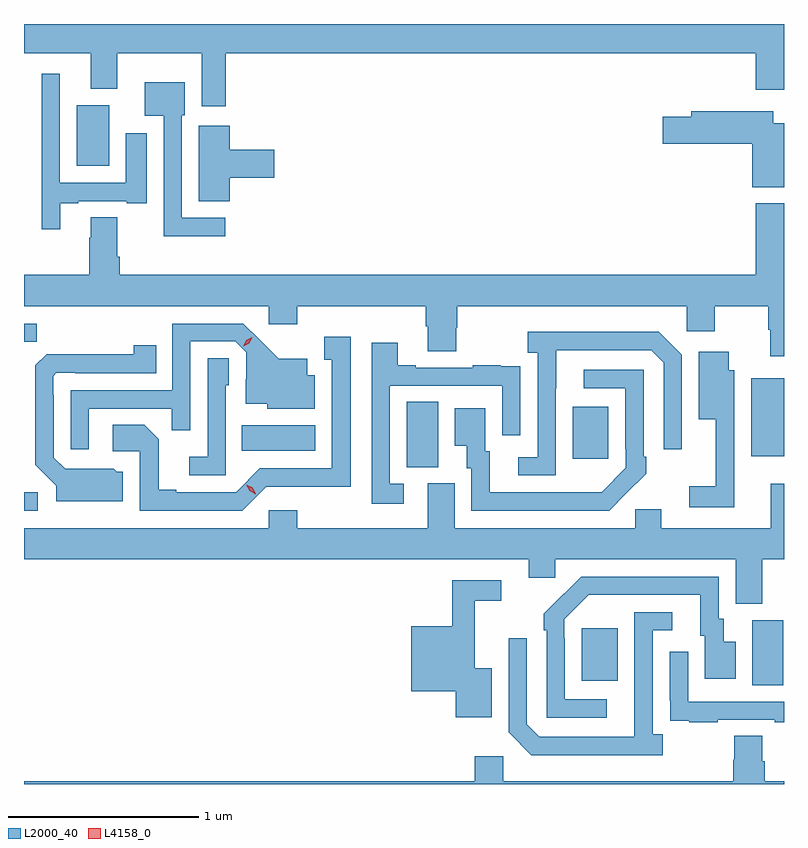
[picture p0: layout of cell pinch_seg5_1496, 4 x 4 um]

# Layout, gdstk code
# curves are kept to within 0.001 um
import gdstk
lib = gdstk.Library(unit=1e-6, precision=1e-09)
def R(c, l, rs):  # rectangles x0, y0, x1, y1
    for r in rs: c.add(gdstk.rectangle(r[:2], r[2:], *l))
def P(c, l, *ps):  # polygons
    for p in ps: c.add(gdstk.Polygon(p, *l))
L2000_40 = (2000, 40)
L4158_0 = (4158, 0)

pinch_seg5_1496 = lib.new_cell('pinch_seg5_1496')
R(pinch_seg5_1496, L2000_40, [(303.002,858.76,303.166,859.104), (302.105,858.785,302.293,859.06), (299.169,859.68,299.242,859.776), (301.184,859.909,301.348,860.252), (302.057,859.953,302.245,860.227), (302.996,859.967,303.169,860.377), (300.316,859.994,300.703,860.128), (299.169,860.569,299.235,860.664), (299.447,861.494,299.617,861.814)])
P(pinch_seg5_1496, L2000_40, [(300.23,862.088),(303.02,862.088),(303.02,861.894),(303.169,861.894),(303.169,862.241),(299.169,862.241),(299.169,862.088),(299.519,862.088),(299.519,861.899),(299.659,861.899),(299.659,862.088),(300.104,862.088),(300.104,861.807),(300.23,861.807)],
  [(299.359,861.297),(299.455,861.297),(299.455,861.309),(299.711,861.309),(299.711,861.297),(299.815,861.297),(299.815,861.667),(299.705,861.667),(299.705,861.405),(299.358,861.405),(299.358,861.979),(299.262,861.979),(299.262,861.162),(299.359,861.162)],
  [(300.229,861.222),(300,861.222),(300,861.762),(300.016,861.762),(300.016,861.934),(299.804,861.934),(299.804,861.758),(299.904,861.758),(299.904,861.125),(300.229,861.125)],
  [(303.169,861.718),(303.112,861.718),(303.112,861.783),(302.681,861.783),(302.681,861.753),(302.532,861.753),(302.532,861.611),(303.002,861.611),(303.002,861.383),(303.169,861.383)],
  [(300.251,861.431),(300.487,861.431),(300.487,861.578),(300.251,861.578),(300.251,861.706),(300.089,861.706),(300.089,861.307),(300.251,861.307)],
  [(303.169,861.298),(303.02,861.298),(303.02,860.92),(299.672,860.92),(299.672,861.016),(299.659,861.016),(299.659,861.224),(299.519,861.224),(299.519,861.116),(299.512,861.116),(299.512,860.92),(299.169,860.92),(299.169,860.756),(300.456,860.756),(300.456,860.661),(300.608,860.661),(300.608,860.756),(301.283,860.756),(301.283,860.65),(301.295,860.65),(301.295,860.518),(301.443,860.518),(301.443,860.643),(301.448,860.643),(301.448,860.756),(302.658,860.756),(302.658,860.625),(302.805,860.625),(302.805,860.756),(303.087,860.756),(303.087,860.633),(303.097,860.633),(303.097,860.493),(303.169,860.493)],
  [(299.511,860.217),(299.947,860.217),(299.947,860.104),(300.045,860.104),(300.045,860.571),(300.282,860.571),(300.339,860.514),(300.339,860.372),(300.335,860.372),(300.335,860.243),(300.45,860.243),(300.45,860.216),(300.7,860.216),(300.7,860.392),(300.661,860.392),(300.661,860.479),(300.509,860.479),(300.322,860.664),(299.949,860.664),(299.949,860.313),(299.415,860.313),(299.415,860.004),(299.511,860.004)],
  [(301.968,860.323),(301.969,860.523),(302.469,860.523),(302.535,860.457),(302.535,860.004),(302.631,860.004),(302.631,860.499),(302.51,860.62),(301.821,860.62),(301.821,860.51),(301.872,860.51),(301.872,859.962),(301.77,859.962),(301.77,859.866),(301.968,859.866)],
  [(300.444,859.806),(300.889,859.805),(300.889,860.596),(300.749,860.596),(300.749,860.475),(300.788,860.475),(300.788,859.902),(300.411,859.902),(300.285,859.776),(299.971,859.776),(299.971,859.789),(299.877,859.789),(299.877,860.056),(299.801,860.132),(299.637,860.132),(299.637,859.992),(299.778,859.992),(299.778,859.68),(300.318,859.68)],
  [(301.168,859.821),(301.095,859.821),(301.095,860.337),(301.686,860.337),(301.686,860.076),(301.782,860.076),(301.782,860.33),(301.781,860.33),(301.781,860.439),(301.679,860.439),(301.679,860.446),(301.531,860.446),(301.531,860.433),(301.231,860.433),(301.231,860.446),(301.135,860.446),(301.135,860.563),(300.999,860.563),(300.999,859.716),(301.168,859.716)],
  [(299.689,859.884),(299.658,859.884),(299.642,859.9),(299.385,859.899),(299.325,859.959),(299.325,860.288),(299.322,860.288),(299.322,860.388),(299.34,860.406),(299.44,860.406),(299.44,860.403),(299.864,860.403),(299.864,860.551),(299.746,860.551),(299.746,860.504),(299.288,860.503),(299.229,860.444),(299.229,859.922),(299.339,859.812),(299.339,859.73),(299.689,859.73)],
  [(302.907,860.419),(302.878,860.419),(302.878,860.515),(302.72,860.515),(302.72,860.162),(302.81,860.162),(302.81,859.807),(302.67,859.807),(302.67,859.698),(302.907,859.698)],
  [(300.231,860.34),(300.246,860.34),(300.246,860.483),(300.135,860.483),(300.135,859.963),(300.039,859.963),(300.039,859.866),(300.231,859.866)],
  [(302.339,859.771),(302.34,859.77),(302.445,859.875),(302.445,859.963),(302.43,859.963),(302.43,860.421),(302.115,860.421),(302.115,860.325),(302.334,860.325),(302.334,860.005),(302.337,860.005),(302.337,859.905),(302.209,859.777),(301.621,859.776),(301.621,859.992),(301.597,859.992),(301.597,860.218),(301.436,860.218),(301.436,860.021),(301.499,860.021),(301.499,859.902),(301.524,859.902),(301.524,859.68),(302.248,859.68)],
  [(303.055,859.424),(303.169,859.424),(303.169,859.822),(303.098,859.822),(303.098,859.588),(302.524,859.588),(302.524,859.686),(302.385,859.686),(302.385,859.588),(301.435,859.588),(301.435,859.824),(301.295,859.824),(301.295,859.588),(300.608,859.588),(300.608,859.681),(300.456,859.681),(300.456,859.588),(299.169,859.588),(299.169,859.424),(301.826,859.424),(301.826,859.326),(301.965,859.326),(301.965,859.424),(302.915,859.424),(302.915,859.189),(303.055,859.189)],
  [(302.236,858.687),(302.016,858.687),(302.016,859.007),(302.013,859.007),(302.013,859.107),(302.142,859.236),(302.729,859.236),(302.729,859.02),(302.753,859.02),(302.753,858.795),(302.914,858.795),(302.914,858.991),(302.851,858.991),(302.851,859.11),(302.826,859.11),(302.826,859.332),(302.102,859.332),(301.905,859.137),(301.905,859.049),(301.92,859.049),(301.92,858.591),(302.236,858.591)],
  [(301.63,858.85),(301.541,858.85),(301.541,859.206),(301.681,859.206),(301.681,859.314),(301.423,859.314),(301.423,859.072),(301.208,859.072),(301.208,858.728),(301.442,858.728),(301.442,858.593),(301.63,858.593)],
  [(302.53,858.502),(302.478,858.502),(302.478,859.05),(302.581,859.05),(302.581,859.146),(302.382,859.146),(302.381,858.489),(301.881,858.489),(301.815,858.555),(301.815,859.009),(301.719,859.009),(301.719,858.513),(301.84,858.392),(302.53,858.392)],
  [(302.819,858.579),(303.119,858.579),(303.119,858.567),(303.169,858.567),(303.169,858.675),(302.664,858.675),(302.664,858.937),(302.568,858.937),(302.568,858.682),(302.569,858.682),(302.569,858.573),(302.671,858.573),(302.671,858.567),(302.819,858.567)],
  [(303.169,858.256),(303.068,858.256),(303.068,858.362),(303.055,858.362),(303.055,858.494),(302.908,858.494),(302.908,858.369),(302.903,858.369),(302.903,858.256),(301.692,858.256),(301.692,858.388),(301.541,858.388),(301.541,858.256),(299.169,858.256),(299.169,858.241),(303.169,858.241)])
P(pinch_seg5_1496, L4158_0, [(300.389,859.766),(300.358,859.784),(300.339,859.817),(300.339,859.817),(300.34,859.817),(300.372,859.799),(300.39,859.766),(300.39,859.766)],
  [(300.323,860.546),(300.323,860.546),(300.34,860.576),(300.371,860.592),(300.371,860.592),(300.371,860.592),(300.354,860.562),(300.324,860.546)])

lib.write_gds('pinch_seg5_1496.gds')
